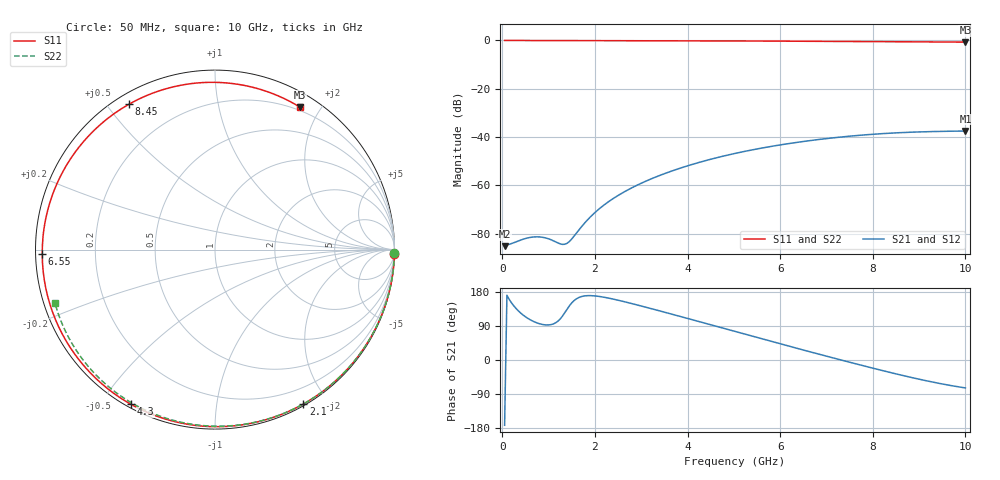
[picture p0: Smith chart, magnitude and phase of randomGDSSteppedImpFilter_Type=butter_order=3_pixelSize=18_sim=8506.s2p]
! freq	dB(S11)	phase(S11)	dB(S12)	phase(S12)
!  dB(S21)	phase(S21)	dB(S22)	phase(S22)
!S-par simulation data
#  GHz  S  DB  R 50
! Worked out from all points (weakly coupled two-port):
!   200 points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, 50 MHz to 10 GHz, reference 50 ohm
!   highest |S21| = -37.49 dB at 10 GHz (marker M1); lowest = -85.1 dB at 50 MHz (marker M2)
!   lowest |S11| = -0.7 dB at 10 GHz (marker M3), VSWR 25.31, Z = 8.08 + j87.6 ohm
!   |S11| at or under -10 dB: nowhere
!   |S22| runs from -0.5 to 0.0 dB; largest |S21 - S12| = 0
!   S11 on the Smith chart (normalised r, x): 50 MHz: 0, -78; 2.1 GHz: 0.02, -1.73; 4.3 GHz: 0.01, -0.59; 6.55 GHz: 0.02, -0.01; 8.45 GHz: 0.04, +0.57; 10 GHz: 0.16, +1.75
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0.05  -0.00 -1.5  -85.14 -172.3  -85.14 -172.3  -0.00 -0.9
0.75  -0.02 -22.0  -81.28 97.9  -81.28 97.9  -0.01 -14.0
1.55  -0.06 -44.8  -81.00 156.8  -81.00 156.8  -0.04 -28.7
1.6  -0.06 -46.2  -79.77 161.4  -79.77 161.4  -0.04 -29.6
1.75  -0.06 -50.5  -76.19 168.6  -76.19 168.6  -0.04 -32.3
2.1  -0.08 -60.2  -69.57 167.6  -69.57 167.6  -0.05 -38.6
2.65  -0.10 -75.2  -62.49 153.4  -62.49 153.4  -0.06 -48.3
3.4  -0.12 -95.1  -55.86 129.6  -55.86 129.6  -0.08 -61.2
4.3  -0.17 -118.5  -50.20 99.6  -50.20 99.6  -0.11 -76.1
5.05  -0.21 -138.0  -46.65 74.4  -46.65 74.4  -0.14 -88.1
5.85  -0.27 -159.1  -43.71 47.7  -43.71 47.7  -0.17 -100.5
6.55  -0.33 -178.5  -41.68 24.7  -41.68 24.7  -0.21 -111.0
6.7  -0.34 177.2  -41.31 19.8  -41.31 19.8  -0.22 -113.3
7.15  -0.39 163.9  -40.29 5.3  -40.29 5.3  -0.25 -119.9
7.55  -0.43 151.4  -39.53 -7.5  -39.53 -7.5  -0.28 -125.8
7.95  -0.47 138.2  -38.90 -20.0  -38.90 -20.0  -0.31 -131.6
8.35  -0.52 124.3  -38.40 -32.2  -38.40 -32.2  -0.35 -137.4
8.45  -0.53 120.7  -38.29 -35.1  -38.29 -35.1  -0.36 -138.8
8.85  -0.57 105.8  -37.95 -46.6  -37.95 -46.6  -0.40 -144.7
9.25  -0.61 90.1  -37.72 -57.2  -37.72 -57.2  -0.45 -150.5
9.6  -0.65 75.9  -37.59 -65.5  -37.59 -65.5  -0.49 -155.7
10  -0.69 59.1  -37.49 -73.7  -37.49 -73.7  -0.54 -161.7
